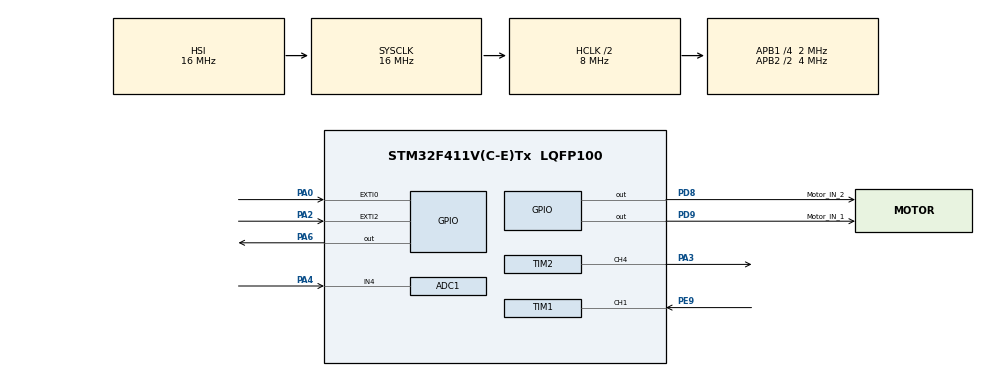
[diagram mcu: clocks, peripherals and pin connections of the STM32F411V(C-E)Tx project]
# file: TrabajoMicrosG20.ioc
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ADC1.Channel-0\#ChannelRegularConversion=ADC_CHANNEL_4
ADC1.NbrOfConversionFlag=1
ADC1.Rank-0\#ChannelRegularConversion=1
ADC1.Resolution=ADC_RESOLUTION_8B
ADC1.SamplingTime-0\#ChannelRegularConversion=ADC_SAMPLETIME_3CYCLES
ADC1.master=1
Mcu.Family=STM32F4
Mcu.Name=STM32F411V(C-E)Tx
Mcu.Package=LQFP100
NVIC.EXTI0_IRQn=true\:0\:0\:false\:false\:true\:true\:true\:true
NVIC.EXTI2_IRQn=true\:0\:0\:false\:false\:true\:true\:true\:true
NVIC.PriorityGroup=NVIC_PRIORITYGROUP_0
NVIC.TIM1_CC_IRQn=true\:0\:0\:false\:false\:true\:true\:true\:true
NVIC.TIM2_IRQn=true\:0\:0\:false\:false\:true\:true\:true\:true
PA0-WKUP.GPIO_ModeDefaultEXTI=GPIO_MODE_IT_RISING
PA0-WKUP.Signal=GPXTI0
PA2.Signal=GPXTI2
PA3.Signal=S_TIM2_CH4
PA4.Signal=ADCx_IN4
PA6.Signal=GPIO_Output
PD8.GPIO_Label=Motor_IN_2
PD8.Signal=GPIO_Output
PD9.GPIO_Label=Motor_IN_1
PD9.Signal=GPIO_Output
PE9.Signal=S_TIM1_CH1
ProjectManager.HeapSize=0x200
ProjectManager.StackSize=0x400
ProjectManager.TargetToolchain=STM32CubeIDE
RCC.48MHZClocksFreq_Value=48000000
RCC.AHBCLKDivider=RCC_SYSCLK_DIV2
RCC.AHBFreq_Value=8000000
RCC.APB1CLKDivider=RCC_HCLK_DIV4
RCC.APB1Freq_Value=2000000
RCC.APB1TimFreq_Value=4000000
RCC.APB2CLKDivider=RCC_HCLK_DIV2
RCC.APB2Freq_Value=4000000
RCC.APB2TimFreq_Value=8000000
RCC.CortexFreq_Value=8000000
RCC.HCLKFreq_Value=8000000
RCC.HSE_VALUE=8000000
RCC.HSI_VALUE=16000000
RCC.LSE_VALUE=32768
RCC.PLLI2SM=5
RCC.PLLI2SN=200
RCC.PLLM=8
RCC.PLLP=RCC_PLLP_DIV4
RCC.PLLQ=8
RCC.SYSCLKFreq_VALUE=16000000
RCC.VCOOutputFreq_Value=384000000
SH.ADCx_IN4.0=ADC1_IN4,IN4
SH.S_TIM1_CH1.0=TIM1_CH1,Input_Capture1_from_TI1
SH.S_TIM2_CH4.0=TIM2_CH4,PWM Generation4 CH4
TIM1.Channel-Input_Capture1_from_TI1=TIM_CHANNEL_1
TIM1.Period=0xffff-1
TIM1.Prescaler=5-1
TIM2.Channel-PWM\ Generation4\ CH4=TIM_CHANNEL_4
TIM2.Period=100-1
TIM2.Prescaler=2000-1
board=STM32F411E-DISCO

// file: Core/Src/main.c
/* USER CODE BEGIN Header */
/**
  ******************************************************************************
  * @file           : main.c
  * @brief          : Main program body
  ******************************************************************************
  * @attention
  *
  * Copyright (c) 2024 STMicroelectronics.
  * All rights reserved.
  *
  * This software is licensed under terms that can be found in the LICENSE file
  * in the root directory of this software component.
  * If no LICENSE file comes with this software, it is provided AS-IS.
  *
  ******************************************************************************
  */
/* USER CODE END Header */
#include "main.h"

/* USER CODE BEGIN Includes */
#include "controlServo.h"
#include "controlPresencia.h"
#include <stdbool.h>
/* USER CODE END Includes */

ADC_HandleTypeDef hadc1;

TIM_HandleTypeDef htim1;
TIM_HandleTypeDef htim2;

void SystemClock_Config(void);
static void MX_GPIO_Init(void);
static void MX_ADC1_Init(void);
static void MX_TIM2_Init(void);
static void MX_TIM1_Init(void);

/* USER CODE BEGIN 0 */
typedef enum {
    REPOSO,
    CONTROL_PERSIANAS, //Estado en el que unicamente se controlan las persianas. Equivaldría a un control domótico durante el día
    CONTROL_PRESENCIA //Se controlará el ultrasonidos para detectar presencia. Equivaldría a un control domótico durante la noche
} Estado;

Estado estadoActual;

uint32_t tiempoInicial; //Variable que controla el tiempo de deteccion de la condición lumínica.

bool modoManual; //Si es TRUE se ejecuta el modo manual del control de persianas
bool modoAutomatico; //Si es TRUE se ejecuta el modo automatica del control de persianas

bool botonPersianas; // En modo manual, permite controlar las persianas
bool botonModo; // Cambia el modo actual

uint16_t test;

bool antirrebotes(bool *boton, GPIO_TypeDef* GPIO_PORT, uint16_t GPIO_NUMBER);
bool modoNoche(uint32_t *tiempo); //Devuelve 1 si ha pasado el suficiente tiempo bajo poca luz.
bool modoDia(uint32_t *tiempo); //Devuelve 1 si ha pasado el suficiente tiempo bajo mucha luz.
int luzEntrante(); // Devuelve un valor dependiendo del nivel lumínico en ese instante.

void HAL_GPIO_EXTI_Callback(uint16_t GPIO_PIN){

	if(GPIO_PIN==GPIO_PIN_0)
	{
		botonPersianas=true;
	}
	if(GPIO_PIN==GPIO_PIN_2)
	{
		if (botonModo==true)
		{
			//ENTRAMOS EN MODO MANUAL
			botonModo=false;
			modoManual=true;
			modoAutomatico=false;
		}
		else if (botonModo==false)
		{
			//ENTRAMOS EN MODO AUTOMATICO
			botonModo=true;
			modoManual=false;
			modoAutomatico=true;
		}
	}
}

void HAL_TIM_IC_CaptureCallback(TIM_HandleTypeDef *htim)
{
	if (htim->Channel == HAL_TIM_ACTIVE_CHANNEL_1)  // Rutina de interrupciones del TIM1, que maneja el ECHO del ultrasonidos
	{
		//Función que mide la distancia detectada por el ultrasonidos
		controlPresencia(htim);
	}
}

/* USER CODE END 0 */

int main(void)
{
  /* USER CODE BEGIN 1 */

  //Configuracion inicial
  tiempoInicial = HAL_GetTick();
  estadoActual=REPOSO;
  modoManual=false;
  modoAutomatico=false;
  /* USER CODE END 1 */

  /* MCU Configuration--------------------------------------------------------*/

  /* Reset of all peripherals, Initializes the Flash interface and the Systick. */
  HAL_Init();

  /* Configure the system clock */
  SystemClock_Config();

  /* Initialize all configured peripherals */
  MX_GPIO_Init();
  MX_ADC1_Init();
  MX_TIM2_Init();
  MX_TIM1_Init();
  /* USER CODE BEGIN 2 */
  HAL_TIM_IC_Start_IT(&htim1, TIM_CHANNEL_1);
  HAL_TIM_PWM_Start(&htim2, TIM_CHANNEL_4);

  //Configuramos el temporizador PWM para la señal de trigger del ultrasonidos
  __HAL_TIM_SET_COMPARE(&htim2, TIM_CHANNEL_4,10);

  /* USER CODE END 2 */

  /* Infinite loop */
  while (1)
  {

    /* USER CODE BEGIN 3 */

	switch(estadoActual)
	{
	case REPOSO:
		estadoActual = CONTROL_PERSIANAS;
		break;
	case CONTROL_PERSIANAS:
		//Comprobamos si ya es de noche, lo que activaría el control de presencia (Modo Noche)
		if (modoNoche(&tiempoInicial)==1)
		{
			estadoActual = CONTROL_PRESENCIA;

			if (persianasArriba)
			{
				//En caso de que las persianas estuviesen arriba, las bajamos para el modo noche
				bajarPersianas();
			}
		}
		else if (modoManual)
		{
			// Dependiendo de la posición de las persianas y de si pasamos el antirrebotes, subirá o bajará las persianas
			if (persianasAbajo && antirrebotes(&botonPersianas, GPIOA, GPIO_PIN_0))
			{
				subirPersianas();
			}
			else if (persianasArriba && antirrebotes(&botonPersianas, GPIOA, GPIO_PIN_0))
			{
				bajarPersianas();
			}
		}
		else if (modoAutomatico)
		{
			//Control del modo automatico dependiendo de la luz y de la posición de las persianas
			if (persianasAbajo && luzEntrante()==1)
			{
				subirPersianas();
			}
			else if (persianasArriba && luzEntrante()==0)
			{
				bajarPersianas();
			}
		}
			break;
	case CONTROL_PRESENCIA:
		// Comprobamos si ya es de día, lo que activaría el control de persianas (Modo Día)
		if (modoDia(&tiempoInicial)==1)
		{
			//Pasamos a control de persianas y apagamos el led de alarma
			estadoActual = CONTROL_PERSIANAS;
			HAL_GPIO_WritePin(GPIOA, GPIO_PIN_6, GPIO_PIN_RESET);
		}
		//Si detectamos a una determinada distancia, se enciande un led de alarma
		else if(distancia < 10)
		{
			HAL_GPIO_WritePin(GPIOA, GPIO_PIN_6, GPIO_PIN_SET);
		}
			break;
	}

  }
  /* USER CODE END 3 */
}

void SystemClock_Config(void)
{
  RCC_OscInitTypeDef RCC_OscInitStruct = {0};
  RCC_ClkInitTypeDef RCC_ClkInitStruct = {0};

  /** Configure the main internal regulator output voltage
  */
  __HAL_RCC_PWR_CLK_ENABLE();
  __HAL_PWR_VOLTAGESCALING_CONFIG(PWR_REGULATOR_VOLTAGE_SCALE1);

  /** Initializes the RCC Oscillators according to the specified parameters
  * in the RCC_OscInitTypeDef structure.
  */
  RCC_OscInitStruct.OscillatorType = RCC_OSCILLATORTYPE_HSI;
  RCC_OscInitStruct.HSIState = RCC_HSI_ON;
  RCC_OscInitStruct.HSICalibrationValue = RCC_HSICALIBRATION_DEFAULT;
  RCC_OscInitStruct.PLL.PLLState = RCC_PLL_NONE;
  if (HAL_RCC_OscConfig(&RCC_OscInitStruct) != HAL_OK)
  {
    Error_Handler();
  }

  /** Initializes the CPU, AHB and APB buses clocks
  */
  RCC_ClkInitStruct.ClockType = RCC_CLOCKTYPE_HCLK|RCC_CLOCKTYPE_SYSCLK
                              |RCC_CLOCKTYPE_PCLK1|RCC_CLOCKTYPE_PCLK2;
  RCC_ClkInitStruct.SYSCLKSource = RCC_SYSCLKSOURCE_HSI;
  RCC_ClkInitStruct.AHBCLKDivider = RCC_SYSCLK_DIV2;
  RCC_ClkInitStruct.APB1CLKDivider = RCC_HCLK_DIV4;
  RCC_ClkInitStruct.APB2CLKDivider = RCC_HCLK_DIV2;

  if (HAL_RCC_ClockConfig(&RCC_ClkInitStruct, FLASH_LATENCY_0) != HAL_OK)
  {
    Error_Handler();
  }
}

static void MX_ADC1_Init(void)
{

  ADC_ChannelConfTypeDef sConfig = {0};

  /** Configure the global features of the ADC (Clock, Resolution, Data Alignment and number of conversion)
  */
  hadc1.Instance = ADC1;
  hadc1.Init.ClockPrescaler = ADC_CLOCK_SYNC_PCLK_DIV2;
  hadc1.Init.Resolution = ADC_RESOLUTION_8B;
  hadc1.Init.ScanConvMode = DISABLE;
  hadc1.Init.ContinuousConvMode = DISABLE;
  hadc1.Init.DiscontinuousConvMode = DISABLE;
  hadc1.Init.ExternalTrigConvEdge = ADC_EXTERNALTRIGCONVEDGE_NONE;
  hadc1.Init.ExternalTrigConv = ADC_SOFTWARE_START;
  hadc1.Init.DataAlign = ADC_DATAALIGN_RIGHT;
  hadc1.Init.NbrOfConversion = 1;
  hadc1.Init.DMAContinuousRequests = DISABLE;
  hadc1.Init.EOCSelection = ADC_EOC_SINGLE_CONV;
  if (HAL_ADC_Init(&hadc1) != HAL_OK)
  {
    Error_Handler();
  }

  /** Configure for the selected ADC regular channel its corresponding rank in the sequencer and its sample time.
  */
  sConfig.Channel = ADC_CHANNEL_4;
  sConfig.Rank = 1;
  sConfig.SamplingTime = ADC_SAMPLETIME_3CYCLES;
  if (HAL_ADC_ConfigChannel(&hadc1, &sConfig) != HAL_OK)
  {
    Error_Handler();
  }

}

static void MX_TIM1_Init(void)
{

  TIM_MasterConfigTypeDef sMasterConfig = {0};
  TIM_IC_InitTypeDef sConfigIC = {0};

  htim1.Instance = TIM1;
  htim1.Init.Prescaler = 8-1;
  htim1.Init.CounterMode = TIM_COUNTERMODE_UP;
  htim1.Init.Period = 0xffff-1;
  htim1.Init.ClockDivision = TIM_CLOCKDIVISION_DIV1;
  htim1.Init.RepetitionCounter = 0;
  htim1.Init.AutoReloadPreload = TIM_AUTORELOAD_PRELOAD_DISABLE;
  if (HAL_TIM_IC_Init(&htim1) != HAL_OK)
  {
    Error_Handler();
  }
  sMasterConfig.MasterOutputTrigger = TIM_TRGO_RESET;
  sMasterConfig.MasterSlaveMode = TIM_MASTERSLAVEMODE_DISABLE;
  if (HAL_TIMEx_MasterConfigSynchronization(&htim1, &sMasterConfig) != HAL_OK)
  {
    Error_Handler();
  }
  sConfigIC.ICPolarity = TIM_INPUTCHANNELPOLARITY_RISING;
  sConfigIC.ICSelection = TIM_ICSELECTION_DIRECTTI;
  sConfigIC.ICPrescaler = TIM_ICPSC_DIV1;
  sConfigIC.ICFilter = 0;
  if (HAL_TIM_IC_ConfigChannel(&htim1, &sConfigIC, TIM_CHANNEL_1) != HAL_OK)
  {
    Error_Handler();
  }

}

static void MX_TIM2_Init(void)
{

  TIM_MasterConfigTypeDef sMasterConfig = {0};
  TIM_OC_InitTypeDef sConfigOC = {0};

  htim2.Instance = TIM2;
  htim2.Init.Prescaler = 2000-1;
  htim2.Init.CounterMode = TIM_COUNTERMODE_UP;
  htim2.Init.Period = 100-1;
  htim2.Init.ClockDivision = TIM_CLOCKDIVISION_DIV1;
  htim2.Init.AutoReloadPreload = TIM_AUTORELOAD_PRELOAD_DISABLE;
  if (HAL_TIM_PWM_Init(&htim2) != HAL_OK)
  {
    Error_Handler();
  }
  sMasterConfig.MasterOutputTrigger = TIM_TRGO_RESET;
  sMasterConfig.MasterSlaveMode = TIM_MASTERSLAVEMODE_DISABLE;
  if (HAL_TIMEx_MasterConfigSynchronization(&htim2, &sMasterConfig) != HAL_OK)
  {
    Error_Handler();
  }
  sConfigOC.OCMode = TIM_OCMODE_PWM1;
  sConfigOC.Pulse = 0;
  sConfigOC.OCPolarity = TIM_OCPOLARITY_HIGH;
  sConfigOC.OCFastMode = TIM_OCFAST_DISABLE;
  if (HAL_TIM_PWM_ConfigChannel(&htim2, &sConfigOC, TIM_CHANNEL_4) != HAL_OK)
  {
    Error_Handler();
  }
  HAL_TIM_MspPostInit(&htim2);

}

static void MX_GPIO_Init(void)
{
  GPIO_InitTypeDef GPIO_InitStruct = {0};

  /* GPIO Ports Clock Enable */
  __HAL_RCC_GPIOA_CLK_ENABLE();
  __HAL_RCC_GPIOE_CLK_ENABLE();
  __HAL_RCC_GPIOD_CLK_ENABLE();

  /*Configure GPIO pin Output Level */
  HAL_GPIO_WritePin(GPIOA, GPIO_PIN_6, GPIO_PIN_RESET);

  /*Configure GPIO pin Output Level */
  HAL_GPIO_WritePin(GPIOD, Motor_IN_2_Pin|Motor_IN_1_Pin, GPIO_PIN_RESET);

  /*Configure GPIO pins : PA0 PA2 */
  GPIO_InitStruct.Pin = GPIO_PIN_0|GPIO_PIN_2;
  GPIO_InitStruct.Mode = GPIO_MODE_IT_RISING;
  GPIO_InitStruct.Pull = GPIO_NOPULL;
  HAL_GPIO_Init(GPIOA, &GPIO_InitStruct);

  /*Configure GPIO pin : PA6 */
  GPIO_InitStruct.Pin = GPIO_PIN_6;
  GPIO_InitStruct.Mode = GPIO_MODE_OUTPUT_PP;
  GPIO_InitStruct.Pull = GPIO_NOPULL;
  GPIO_InitStruct.Speed = GPIO_SPEED_FREQ_LOW;
  HAL_GPIO_Init(GPIOA, &GPIO_InitStruct);

  /*Configure GPIO pins : Motor_IN_2_Pin Motor_IN_1_Pin */
  GPIO_InitStruct.Pin = Motor_IN_2_Pin|Motor_IN_1_Pin;
  GPIO_InitStruct.Mode = GPIO_MODE_OUTPUT_PP;
  GPIO_InitStruct.Pull = GPIO_NOPULL;
  GPIO_InitStruct.Speed = GPIO_SPEED_FREQ_LOW;
  HAL_GPIO_Init(GPIOD, &GPIO_InitStruct);

  /* EXTI interrupt init*/
  HAL_NVIC_SetPriority(EXTI0_IRQn, 0, 0);
  HAL_NVIC_EnableIRQ(EXTI0_IRQn);

  HAL_NVIC_SetPriority(EXTI2_IRQn, 0, 0);
  HAL_NVIC_EnableIRQ(EXTI2_IRQn);

}

/* USER CODE BEGIN 4 */
int luzEntrante(){

	uint16_t luzADC;

	// Inicia la conversión ADC, espera a que finalice y luego asigna el valor obtenido a la variable luzADC
	HAL_ADC_Start(&hadc1);
	HAL_ADC_PollForConversion(&hadc1, HAL_MAX_DELAY);
	luzADC=HAL_ADC_GetValue(&hadc1);

	//Control de persianas en funcion de la luz
	if(luzADC > 150)
	{
		return 1;	//Mucha luz, subir persianas.
	}
	if(luzADC < 30)
	{
		return 0;   //No hay luz, bajar persianas.
	}
	else return 2;
}

bool antirrebotes(bool *boton, GPIO_TypeDef* GPIO_PORT, uint16_t GPIO_NUMBER){
	static uint8_t button_count=0;
	static int counter=0;

		if (*boton==true)
		{
			if (button_count==0)
			{
				counter=HAL_GetTick();
				button_count++;
			}
			if (HAL_GetTick()-counter>=20)	//Periodo de comprobación de 20 ms
			{
				counter=HAL_GetTick();
				if (HAL_GPIO_ReadPin(GPIO_PORT, GPIO_NUMBER)!=1)
				{
					button_count=1;
				}
				else
				{
					button_count++;
				}
				if (button_count==4) //Periodo antirebotes
				{
					button_count=0;
					*boton=false; // Ponemos el botón a 0 una vez pase el Debouncer
					return true;
				}
			}
		}
	return false;
}

bool modoNoche(uint32_t *tiempo)
{
	//Activación del modo nocturno en caso de no detectar luz en un periodo
	//superior a 10 segundos
	if (luzEntrante()==0 && HAL_GetTick()-*tiempo>10000)
	{
		return true;
	}
	else if(luzEntrante()!=0)
	{
		*tiempo = HAL_GetTick();	//Reinicio la cuenta del tiempo
		return false;
	}
	return false;
}

bool modoDia(uint32_t *tiempo)
{
	//Activación del modo día en caso de detectar luz durante un periodo
	//superior a 10 segundos.
	if (luzEntrante()==1 && HAL_GetTick()-*tiempo>10000)
	{
		return true;
	}
	else if(luzEntrante()!=1)
	{
		*tiempo = HAL_GetTick();	//Reinicio la cuenta
		return false;
	}
	return false;
}
/* USER CODE END 4 */

void Error_Handler(void)
{
  __disable_irq();
  while (1)
  {
  }
}
